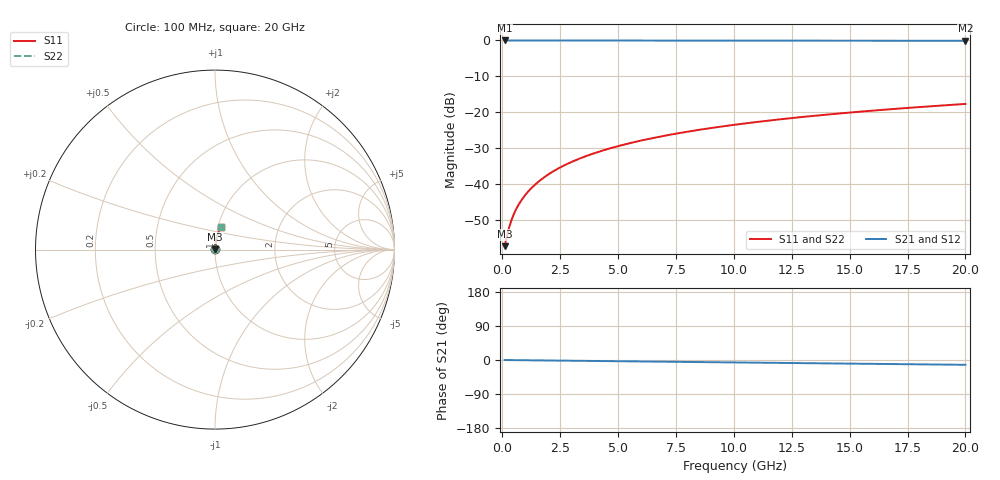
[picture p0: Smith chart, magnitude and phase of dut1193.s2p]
! Touchstone file exported from HFSS 2026.1.0
!  File:  C:/ffzhzh/LocalFiles/Ansys_Project_Files/temp_train_TMRDL_1193_1783162831_51560.aedt
!  Generated:  07:01:51 PM Jul  4, 2026
!  Design:  TMRDL
!  Project:  temp_train_TMRDL_1193_1783162831_51560
! Variables:
!  h_bsmrdl = 2um
!  h_ox = 20um
!  h_rdl = 5um
!  h_sub = 80um
!  h_tmrdl = 2.34um
!  h_tsv = 80um
!  h_via = 3um
!  l_bsmrdl = 300um
!  l_sub = 536.66um
!  l_tmrdl = 136.66um
!  m_sub = 200um
!  pitch = 55.18um
!  r_tsv = 6um
!  s_tmrdl = 10um
!  w_bsmrdl = 18um
!  w_sub = 500um
!  w_tmrdl = 29.32um
!  x_tsv_center1 = 151.32um
!  x_tsv_center2 = 469.32um
!  x_tsv_center3 = 635.3um
!  x_tsv_center4 = 953.3um
!  x_tsv_center5 = 1119.28um
!  x_tsv_center6 = 1437.28um
# GHz S MA R 50.000000
! Terminal data exported
! Port[1] = TM_RDL1_1_T1
! Port[2] = TM_RDL1_1_T2
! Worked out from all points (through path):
!   200 points, 100 MHz to 20 GHz, reference 50 ohm
!   highest |S21| = -0.01 dB at 100 MHz (marker M1); lowest = -0.1 dB at 20 GHz (marker M2)
!   group delay of S21, straight-line fit = 1.76 ps
!   lowest |S11| = -57.4 dB at 100 MHz (marker M3), VSWR 1.00, Z = 50.1 + j0.0743 ohm
!   |S11| at or under -10 dB: start of sweep to end of sweep
!   |S22| runs from -57.4 to -17.7 dB; largest |S21 - S12| = 5.8e-15
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0.1  0.001349 33.4  0.9989 -0.1  0.9989 -0.1  0.001349 33.4
! Gamma 0 0 0 0
! Port Impedance 50 0 50 0
0.2  0.001876 51.6  0.9988 -0.1  0.9988 -0.1  0.001876 51.6
0.3  0.002496 60.9  0.9988 -0.2  0.9988 -0.2  0.002496 60.9
0.4  0.003139 66.1  0.9987 -0.3  0.9987 -0.3  0.003139 66.1
0.5  0.003787 69.6  0.9987 -0.3  0.9987 -0.3  0.003787 69.6
0.6  0.004434 72.0  0.9987 -0.4  0.9987 -0.4  0.004434 72.0
0.8  0.005728 75.4  0.9986 -0.5  0.9986 -0.5  0.005728 75.4
1.1  0.007678 78.4  0.9985 -0.7  0.9985 -0.7  0.007678 78.4
1.3  0.008986 79.7  0.9985 -0.8  0.9985 -0.8  0.008986 79.7
1.6  0.01096 81.1  0.9984 -1.0  0.9984 -1.0  0.01096 81.1
2.1  0.01426 82.5  0.9984 -1.4  0.9984 -1.4  0.01426 82.5
2.7  0.01824 83.3  0.9983 -1.7  0.9983 -1.7  0.01824 83.3
3.5  0.02356 83.8  0.9981 -2.3  0.9981 -2.3  0.02356 83.8
4.2  0.02821 83.9  0.9979 -2.7  0.9979 -2.7  0.02821 83.9
5  0.03352 83.8  0.9977 -3.2  0.9977 -3.2  0.03352 83.8
5.9  0.03948 83.5  0.9974 -3.8  0.9974 -3.8  0.03948 83.5
6.8  0.04543 83.2  0.997 -4.4  0.997 -4.4  0.04543 83.2
8.3  0.05529 82.5  0.9964 -5.3  0.9964 -5.3  0.05529 82.5
10.1  0.06705 81.6  0.9954 -6.5  0.9954 -6.5  0.06705 81.5
13.4  0.08837 79.7  0.9934 -8.6  0.9934 -8.6  0.08837 79.7
16.7  0.1093 77.7  0.9909 -10.6  0.9909 -10.6  0.1093 77.7
20  0.13 75.8  0.988 -12.7  0.988 -12.7  0.13 75.8
